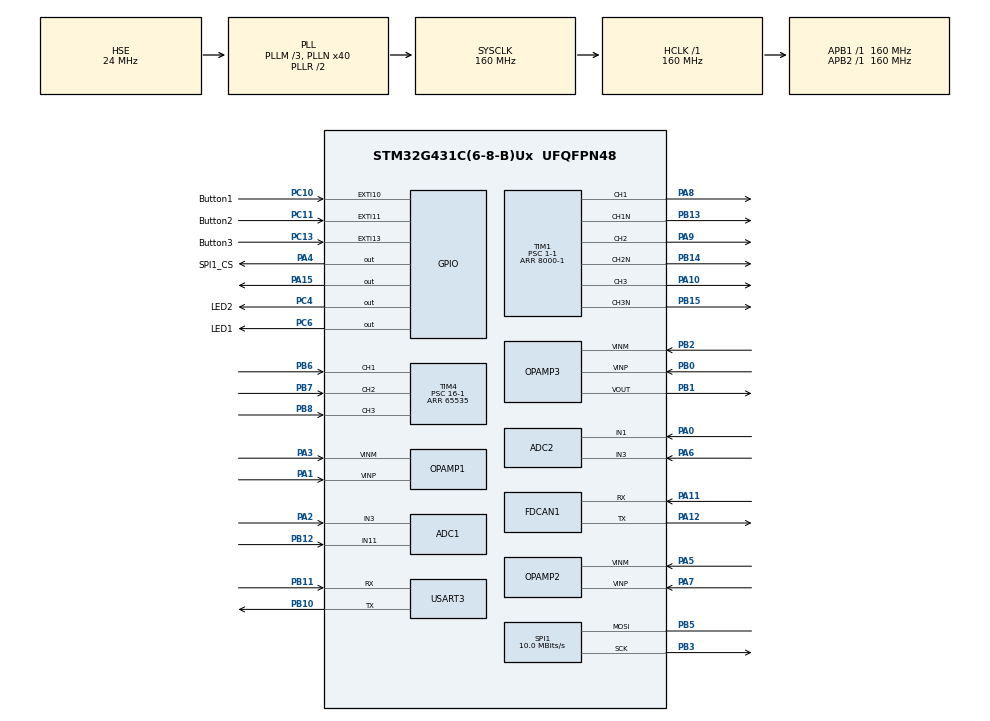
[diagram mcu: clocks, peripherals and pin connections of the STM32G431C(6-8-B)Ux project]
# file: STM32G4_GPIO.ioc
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ADC1.Channel-0\#ChannelRegularConversion=ADC_CHANNEL_11
ADC1.ClockPrescaler=ADC_CLOCK_ASYNC_DIV4
ADC1.EnableInjectedConversion=ENABLE
ADC1.ExternalTrigInjecConv=ADC_EXTERNALTRIGINJEC_T1_CC4
ADC1.InjNumberOfConversion=2
ADC1.InjectedChannel-1\#ChannelInjectedConversion=ADC_CHANNEL_3
ADC1.InjectedChannel-2\#ChannelInjectedConversion=ADC_CHANNEL_12
ADC1.InjectedOffsetNumber-1\#ChannelInjectedConversion=ADC_OFFSET_NONE
ADC1.InjectedOffsetNumber-2\#ChannelInjectedConversion=ADC_OFFSET_NONE
ADC1.InjectedRank-1\#ChannelInjectedConversion=1
ADC1.InjectedRank-2\#ChannelInjectedConversion=2
ADC1.InjectedSamplingTime-1\#ChannelInjectedConversion=ADC_SAMPLETIME_6CYCLES_5
ADC1.InjectedSamplingTime-2\#ChannelInjectedConversion=ADC_SAMPLETIME_6CYCLES_5
ADC1.NbrOfConversionFlag=1
ADC1.OffsetNumber-0\#ChannelRegularConversion=ADC_OFFSET_NONE
ADC1.Rank-0\#ChannelRegularConversion=1
ADC1.SamplingTime-0\#ChannelRegularConversion=ADC_SAMPLETIME_2CYCLES_5
ADC1.master=1
ADC2.Channel-2\#ChannelRegularConversion=ADC_CHANNEL_1
ADC2.ClockPrescaler=ADC_CLOCK_ASYNC_DIV4
ADC2.EnableInjectedConversion=ENABLE
ADC2.EnableRegularConversion=ENABLE
ADC2.ExternalTrigInjecConv=ADC_EXTERNALTRIGINJEC_T1_CC4
ADC2.InjNumberOfConversion=1
ADC2.InjectedChannel-1\#ChannelInjectedConversion=ADC_CHANNEL_3
ADC2.InjectedOffsetNumber-1\#ChannelInjectedConversion=ADC_OFFSET_NONE
ADC2.InjectedRank-1\#ChannelInjectedConversion=1
ADC2.InjectedSamplingTime-1\#ChannelInjectedConversion=ADC_SAMPLETIME_6CYCLES_5
ADC2.NbrOfConversionFlag=1
ADC2.OffsetNumber-2\#ChannelRegularConversion=ADC_OFFSET_NONE
ADC2.Rank-2\#ChannelRegularConversion=1
ADC2.SamplingTime-2\#ChannelRegularConversion=ADC_SAMPLETIME_2CYCLES_5
COMP1.TriggerMode=COMP_TRIGGERMODE_IT_RISING
Dma.Request0=USART3_TX
Dma.USART3_TX.0.Direction=DMA_MEMORY_TO_PERIPH
Dma.USART3_TX.0.EventEnable=DISABLE
Dma.USART3_TX.0.Instance=DMA1_Channel1
Dma.USART3_TX.0.MemDataAlignment=DMA_MDATAALIGN_BYTE
Dma.USART3_TX.0.MemInc=DMA_MINC_ENABLE
Dma.USART3_TX.0.Mode=DMA_NORMAL
Dma.USART3_TX.0.PeriphDataAlignment=DMA_PDATAALIGN_BYTE
Dma.USART3_TX.0.PeriphInc=DMA_PINC_DISABLE
Dma.USART3_TX.0.Polarity=HAL_DMAMUX_REQ_GEN_RISING
Dma.USART3_TX.0.Priority=DMA_PRIORITY_LOW
Dma.USART3_TX.0.RequestNumber=1
Dma.USART3_TX.0.SignalID=NONE
Dma.USART3_TX.0.SyncEnable=DISABLE
Dma.USART3_TX.0.SyncPolarity=HAL_DMAMUX_SYNC_NO_EVENT
Dma.USART3_TX.0.SyncRequestNumber=1
Dma.USART3_TX.0.SyncSignalID=NONE
FDCAN1.CalculateBaudRateNominal=500000
FDCAN1.CalculateTimeBitNominal=2000
FDCAN1.CalculateTimeQuantumNominal=125.0
FDCAN1.DataPrescaler=20
FDCAN1.DataTimeSeg1=10
FDCAN1.DataTimeSeg2=5
FDCAN1.ExtFiltersNbr=1
FDCAN1.NominalPrescaler=20
FDCAN1.NominalTimeSeg1=10
FDCAN1.NominalTimeSeg2=5
FDCAN1.StdFiltersNbr=1
Mcu.Family=STM32G4
Mcu.Name=STM32G431C(6-8-B)Ux
Mcu.Package=UFQFPN48
NVIC.ADC1_2_IRQn=true\:0\:0\:false\:false\:true\:true\:true\:true
NVIC.COMP1_2_3_IRQn=true\:0\:0\:false\:false\:true\:false\:true\:true
NVIC.DMA1_Channel1_IRQn=true\:0\:0\:false\:false\:true\:false\:true\:true
NVIC.EXTI15_10_IRQn=true\:0\:0\:false\:false\:true\:true\:true\:true
NVIC.FDCAN1_IT0_IRQn=true\:0\:0\:false\:false\:true\:true\:true\:true
NVIC.PriorityGroup=NVIC_PRIORITYGROUP_4
NVIC.TIM1_BRK_TIM15_IRQn=true\:0\:0\:false\:false\:true\:true\:true\:true
NVIC.TIM1_CC_IRQn=true\:0\:0\:false\:false\:true\:true\:true\:true
NVIC.TIM1_UP_TIM16_IRQn=true\:0\:0\:false\:false\:true\:true\:true\:true
NVIC.TIM4_IRQn=true\:0\:0\:false\:false\:true\:true\:true\:true
NVIC.USART3_IRQn=true\:0\:0\:false\:false\:true\:true\:true\:true
PA0.Mode=IN1-Single-Ended
PA0.Signal=ADC2_IN1
PA1.Mode=Standalone
PA1.Signal=OPAMP1_VINP
PA10.Signal=S_TIM1_CH3
PA11.Mode=FDCAN_Activate
PA11.Signal=FDCAN1_RX
PA12.Mode=FDCAN_Activate
PA12.Signal=FDCAN1_TX
PA13.Mode=Serial_Wire
PA13.Signal=SYS_JTMS-SWDIO
PA14.Mode=Serial_Wire
PA14.Signal=SYS_JTCK-SWCLK
PA15.GPIO_Speed=GPIO_SPEED_FREQ_HIGH
PA15.PinState=GPIO_PIN_SET
PA15.Signal=GPIO_Output
PA2.Signal=SharedAnalog_PA2
PA3.Mode=Standalone
PA3.Signal=OPAMP1_VINM
PA4.GPIO_Label=SPI1_CS
PA4.GPIO_Speed=GPIO_SPEED_FREQ_HIGH
PA4.PinState=GPIO_PIN_SET
PA4.Signal=GPIO_Output
PA5.Mode=Standalone
PA5.Signal=OPAMP2_VINM
PA6.Signal=SharedAnalog_PA6
PA7.Mode=Standalone
PA7.Signal=OPAMP2_VINP
PA8.Signal=S_TIM1_CH1
PA9.Signal=S_TIM1_CH2
PB0.Mode=Standalone
PB0.Signal=OPAMP3_VINP
PB1.Signal=SharedAnalog_PB1
PB10.Mode=Asynchronous
PB10.Signal=USART3_TX
PB11.Mode=Asynchronous
PB11.Signal=USART3_RX
PB12.Mode=IN11-Single-Ended
PB12.Signal=ADC1_IN11
PB13.Mode=PWM Generation1 CH1 CH1N
PB13.Signal=TIM1_CH1N
PB14.Mode=PWM Generation2 CH2 CH2N
PB14.Signal=TIM1_CH2N
PB15.Mode=PWM Generation3 CH3 CH3N
PB15.Signal=TIM1_CH3N
PB2.Mode=Standalone
PB2.Signal=OPAMP3_VINM
PB3.Mode=Simplex_Bidirectional_Master
PB3.Signal=SPI1_SCK
PB5.Mode=Simplex_Bidirectional_Master
PB5.Signal=SPI1_MOSI
PB6.Signal=S_TIM4_CH1
PB7.Signal=S_TIM4_CH2
PB8-BOOT0.Signal=S_TIM4_CH3
PC10.GPIO_Label=Button1
PC10.Signal=GPXTI10
PC11.GPIO_Label=Button2
PC11.Signal=GPXTI11
PC13.GPIO_Label=Button3
PC13.Signal=GPXTI13
PC4.GPIO_Label=LED2
PC4.Signal=GPIO_Output
PC6.GPIO_Label=LED1
PC6.Signal=GPIO_Output
PF0-OSC_IN.Mode=HSE-External-Oscillator
PF0-OSC_IN.Signal=RCC_OSC_IN
PF1-OSC_OUT.Mode=HSE-External-Oscillator
PF1-OSC_OUT.Signal=RCC_OSC_OUT
ProjectManager.HeapSize=0x200
ProjectManager.StackSize=0x400
ProjectManager.TargetToolchain=MDK-ARM V5.32
RCC.ADC12Freq_Value=160000000
RCC.AHBFreq_Value=160000000
RCC.APB1Freq_Value=160000000
RCC.APB1TimFreq_Value=160000000
RCC.APB2Freq_Value=160000000
RCC.APB2TimFreq_Value=160000000
RCC.CortexFreq_Value=160000000
RCC.EXTERNAL_CLOCK_VALUE=12288000
RCC.HCLKFreq_Value=160000000
RCC.HSE_VALUE=24000000
RCC.HSI48_VALUE=48000000
RCC.HSI_VALUE=16000000
RCC.LSE_VALUE=32768
RCC.PLLM=RCC_PLLM_DIV3
RCC.PLLN=40
RCC.PLLSourceVirtual=RCC_PLLSOURCE_HSE
RCC.SYSCLKFreq_VALUE=160000000
RCC.SYSCLKSource=RCC_SYSCLKSOURCE_PLLCLK
RCC.USBFreq_Value=160000000
RCC.VCOOutputFreq_Value=320000000
SH.S_TIM1_CH1.0=TIM1_CH1,PWM Generation1 CH1 CH1N
SH.S_TIM1_CH2.0=TIM1_CH2,PWM Generation2 CH2 CH2N
SH.S_TIM1_CH3.0=TIM1_CH3,PWM Generation3 CH3 CH3N
SH.S_TIM4_CH1.0=TIM4_CH1,Xored_Inputs_Hall_Sensor_Interface
SH.S_TIM4_CH2.0=TIM4_CH2,Xored_Inputs_Hall_Sensor_Interface
SH.S_TIM4_CH3.0=TIM4_CH3,Xored_Inputs_Hall_Sensor_Interface
SH.SharedAnalog_PA2.0=ADC1_IN3,IN3-Single-Ended
SH.SharedAnalog_PA2.1=OPAMP1_VOUT,Standalone
SH.SharedAnalog_PA6.0=ADC2_IN3,IN3-Single-Ended
SH.SharedAnalog_PA6.1=OPAMP2_VOUT,Standalone
SH.SharedAnalog_PB1.0=OPAMP3_VOUT,Standalone
SH.SharedAnalog_PB1.1=ADC1_IN12,IN12-Single-Ended
SH.SharedAnalog_PB1.2=COMP1_INP,INP
SPI1.BaudRatePrescaler=SPI_BAUDRATEPRESCALER_16
SPI1.CLKPhase=SPI_PHASE_2EDGE
SPI1.CalculateBaudRate=10.0 MBits/s
SPI1.DataSize=SPI_DATASIZE_16BIT
SPI1.Direction=SPI_DIRECTION_1LINE
SPI1.Mode=SPI_MODE_MASTER
SPI1.VirtualType=VM_MASTER
STMicroelectronics.X-CUBE-ALGOBUILD.1.3.0.LibraryCcDSPOoLibraryJjDSPOoLibrary=true
TIM1.BreakFilter=2
TIM1.BreakState=TIM_BREAK_ENABLE
TIM1.Channel-PWM\ Generation1\ CH1\ CH1N=TIM_CHANNEL_1
TIM1.Channel-PWM\ Generation2\ CH2\ CH2N=TIM_CHANNEL_2
TIM1.Channel-PWM\ Generation3\ CH3\ CH3N=TIM_CHANNEL_3
TIM1.Channel-PWM\ Generation4\ No\ Output=TIM_CHANNEL_4
TIM1.ClockDivision=TIM_CLOCKDIVISION_DIV2
TIM1.CounterMode=TIM_COUNTERMODE_CENTERALIGNED1
TIM1.DeadTime=120
TIM1.OCMode_PWM-PWM\ Generation4\ No\ Output=TIM_OCMODE_PWM2
TIM1.PeriodNoDither=8000-1
TIM1.Prescaler=1-1
TIM1.PulseNoDither_4=8000-2
TIM1.RepetitionCounter=1
TIM1.SourceBRKCOMP1=TIM_BREAKINPUTSOURCE_ENABLE
TIM1.TIM_MasterOutputTrigger=TIM_TRGO_OC4REF
TIM4.Commutation_Delay=5
TIM4.IC1Filter=10
TIM4.PeriodNoDither=65535
TIM4.Prescaler=16-1
USART3.VirtualMode-Asynchronous=VM_ASYNC
VP_COMP1_VS_DAC3OUT1.Mode=INM_DAC3OUT1
VP_DAC3_VS_DACI1.Mode=DAC_OUT1_Int
VP_STMicroelectronics.X-CUBE-ALGOBUILD_VS_DSPOoLibraryJjLibrary_1.3.0_1.3.0.Mode=DSPOoLibraryJjLibrary
VP_SYS_VS_DBSignals.Mode=DisableDeadBatterySignals
VP_TIM1_VS_ClockSourceINT.Mode=Internal
VP_TIM1_VS_no_output4.Mode=PWM Generation4 No Output
VP_TIM4_VS_ClockSourceINT.Mode=Internal
board=custom

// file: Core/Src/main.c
/* USER CODE BEGIN Header */
/**
 ******************************************************************************
 * @file           : main.c
 * @brief          : Main program body
 ******************************************************************************
 * @attention
 *
 * Copyright (c) 2024 STMicroelectronics.
 * All rights reserved.
 *
 * This software is licensed under terms that can be found in the LICENSE file
 * in the root directory of this software component.
 * If no LICENSE file comes with this software, it is provided AS-IS.
 *
 ******************************************************************************
 */
/* USER CODE END Header */
#include "main.h"
#include "adc.h"
#include "comp.h"
#include "dac.h"
#include "dma.h"
#include "fdcan.h"
#include "opamp.h"
#include "spi.h"
#include "tim.h"
#include "usart.h"
#include "gpio.h"

/* USER CODE BEGIN Includes */
#include <stdio.h>
/* USER CODE END Includes */

/* USER CODE BEGIN PTD */
void dealPer100us();
void userMain();
void appInit();
extern uint8_t aRxBuffer;
/* USER CODE END PTD */

void SystemClock_Config(void);

int main(void)
{

  /* MCU Configuration--------------------------------------------------------*/

  /* Reset of all peripherals, Initializes the Flash interface and the Systick. */
  HAL_Init();

  /* Configure the system clock */
  SystemClock_Config();

  /* Initialize all configured peripherals */
  MX_GPIO_Init();
  MX_DMA_Init();
  MX_USART3_UART_Init();
  MX_ADC1_Init();
  MX_ADC2_Init();
  MX_OPAMP1_Init();
  MX_OPAMP2_Init();
  MX_OPAMP3_Init();
  MX_TIM1_Init();
  MX_COMP1_Init();
  MX_DAC3_Init();
  MX_FDCAN1_Init();
  MX_TIM4_Init();
  MX_SPI1_Init();
  /* USER CODE BEGIN 2 */
  HAL_OPAMP_Start(&hopamp1);
  HAL_OPAMP_Start(&hopamp2);
  HAL_OPAMP_Start(&hopamp3);

  // HAL_UART_Receive_IT(&huart3, (uint8_t *)&aRxBuffer, 1);
  HAL_ADCEx_Calibration_Start(&hadc1, ADC_SINGLE_ENDED);
  HAL_ADCEx_Calibration_Start(&hadc2, ADC_SINGLE_ENDED);
  __HAL_ADC_CLEAR_FLAG(&hadc1, ADC_FLAG_JEOC);
  __HAL_ADC_CLEAR_FLAG(&hadc1, ADC_FLAG_EOC);
  __HAL_ADC_CLEAR_FLAG(&hadc2, ADC_FLAG_JEOC);
  HAL_ADCEx_InjectedStart_IT(&hadc1);
  HAL_ADCEx_InjectedStart(&hadc2);
  // HAL_TIM_PWM_Start(&htim1, TIM_CHANNEL_1);
  // HAL_TIM_PWM_Start(&htim1, TIM_CHANNEL_2);
  // HAL_TIM_PWM_Start(&htim1, TIM_CHANNEL_3);
  // HAL_TIMEx_PWMN_Start(&htim1, TIM_CHANNEL_1);
  // HAL_TIMEx_PWMN_Start(&htim1, TIM_CHANNEL_2);
  // HAL_TIMEx_PWMN_Start(&htim1, TIM_CHANNEL_3);
  HAL_TIM_Base_Start(&htim1);
  HAL_TIM_PWM_Start(&htim1, TIM_CHANNEL_4);
  appInit();
  /* USER CODE END 2 */

  /* Infinite loop */
  while (1)
  {

    /* USER CODE BEGIN 3 */
    // printf("hello\n");
    // HAL_Delay(500);
    userMain();
  }
  /* USER CODE END 3 */
}

void SystemClock_Config(void)
{
  RCC_OscInitTypeDef RCC_OscInitStruct = {0};
  RCC_ClkInitTypeDef RCC_ClkInitStruct = {0};

  /** Configure the main internal regulator output voltage
  */
  HAL_PWREx_ControlVoltageScaling(PWR_REGULATOR_VOLTAGE_SCALE1_BOOST);

  /** Initializes the RCC Oscillators according to the specified parameters
  * in the RCC_OscInitTypeDef structure.
  */
  RCC_OscInitStruct.OscillatorType = RCC_OSCILLATORTYPE_HSE;
  RCC_OscInitStruct.HSEState = RCC_HSE_ON;
  RCC_OscInitStruct.PLL.PLLState = RCC_PLL_ON;
  RCC_OscInitStruct.PLL.PLLSource = RCC_PLLSOURCE_HSE;
  RCC_OscInitStruct.PLL.PLLM = RCC_PLLM_DIV3;
  RCC_OscInitStruct.PLL.PLLN = 40;
  RCC_OscInitStruct.PLL.PLLP = RCC_PLLP_DIV2;
  RCC_OscInitStruct.PLL.PLLQ = RCC_PLLQ_DIV2;
  RCC_OscInitStruct.PLL.PLLR = RCC_PLLR_DIV2;
  if (HAL_RCC_OscConfig(&RCC_OscInitStruct) != HAL_OK)
  {
    Error_Handler();
  }

  /** Initializes the CPU, AHB and APB buses clocks
  */
  RCC_ClkInitStruct.ClockType = RCC_CLOCKTYPE_HCLK|RCC_CLOCKTYPE_SYSCLK
                              |RCC_CLOCKTYPE_PCLK1|RCC_CLOCKTYPE_PCLK2;
  RCC_ClkInitStruct.SYSCLKSource = RCC_SYSCLKSOURCE_PLLCLK;
  RCC_ClkInitStruct.AHBCLKDivider = RCC_SYSCLK_DIV1;
  RCC_ClkInitStruct.APB1CLKDivider = RCC_HCLK_DIV1;
  RCC_ClkInitStruct.APB2CLKDivider = RCC_HCLK_DIV1;

  if (HAL_RCC_ClockConfig(&RCC_ClkInitStruct, FLASH_LATENCY_4) != HAL_OK)
  {
    Error_Handler();
  }
}

/* USER CODE BEGIN 4 */

void HAL_ADCEx_InjectedConvCpltCallback(ADC_HandleTypeDef *hadc) // 10kHz ADC
{
  static uint8_t cnt;
  uint16_t adc1_in1, adc1_in2, adc1_in3;
  uint16_t IA_Offset, IB_Offset, IC_Offset;
  static uint8_t ADC_offset = 0;
  /* Prevent unused argument(s) compilation warning */
  UNUSED(hadc);
  if (hadc == &hadc1)
  {
    if (ADC_offset == 0)
    {
      cnt++;
      adc1_in1 = hadc1.Instance->JDR1;
      adc1_in2 = hadc2.Instance->JDR1;
      adc1_in3 = hadc1.Instance->JDR2;
      IA_Offset += adc1_in1;
      IB_Offset += adc1_in2;
      IC_Offset += adc1_in3;
      if (cnt >= 10)
      {
        ADC_offset = 1;
        IA_Offset = IA_Offset / 10;
        IB_Offset = IB_Offset / 10;
        IC_Offset = IC_Offset / 10;
      }
      // motorMode = OPEN_LOOP;
    }
    else
    {
      HAL_GPIO_WritePin(GPIOA, GPIO_PIN_15, GPIO_PIN_SET);
      adc1_in1 = hadc1.Instance->JDR1;
      adc1_in3 = hadc1.Instance->JDR2;
      adc1_in2 = hadc2.Instance->JDR1;

      float Ia, Ib, Ic;
      Ia = (adc1_in1 - IA_Offset) * 0.02197f; // Amps
      Ib = (adc1_in2 - IB_Offset) * 0.02197f; // Amps
      Ic = (adc1_in3 - IC_Offset) * 0.02197f; // Amps

      // motorTick(&bldcMotor);
      static float elecAngle;
      // elecAngle += 0.01f;
      // if (elecAngle >= 6.28)
      //   elecAngle = 0;
      // getRawAngle();
      // getSector(elecAngle);
      // getIabc(Ia, Ib, Ic);
      // clarke();
      // park(elecAngle);
      // PID
      // revPark(elecAngle);
      // SVPWM();
       //setPhaseVoltage(2, 0, elecAngle);
      dealPer100us();
      HAL_GPIO_WritePin(GPIOA, GPIO_PIN_15, GPIO_PIN_RESET);
#if SEND_RCC_DATA
      temp[0] = Ia;
      temp[1] = Ib;
      temp[2] = Ic;

      //      temp[3] = dqCurrent.d;
      //      temp[4] = dqCurrent.q;
      memcpy(tempData, (uint8_t *)&temp, sizeof(temp));
      HAL_UART_Transmit_DMA(&huart3, (uint8_t *)tempData, 6 * 4);
#endif
    }
  }
}
int fputc(int ch, FILE *f)
{
  while ((USART3->ISR & 0X40) == 0)
    ;
  USART3->TDR = (uint8_t)ch;
  return ch;
}
/* USER CODE END 4 */

void Error_Handler(void)
{
  __disable_irq();
  while (1)
  {
  }
}
